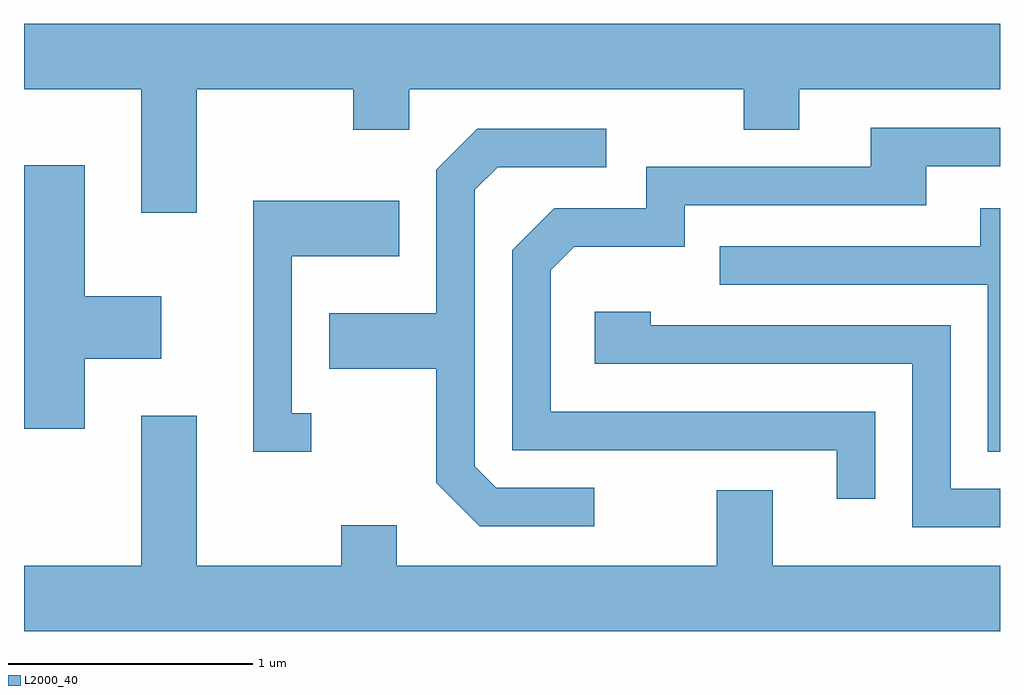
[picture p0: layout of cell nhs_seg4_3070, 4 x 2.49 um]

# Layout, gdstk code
import gdstk
lib = gdstk.Library(unit=1e-6, precision=1e-09)
def P(c, l, *ps):  # polygons
    for p in ps: c.add(gdstk.Polygon(p, *l))
L2000_40 = (2000, 40)

nhs_seg4_3070 = lib.new_cell('nhs_seg4_3070')
P(nhs_seg4_3070, L2000_40, [(276.319,1276.976),(276.961,1276.976),(276.961,1276.811),(277.189,1276.811),(277.189,1276.976),(278.561,1276.976),(278.561,1276.811),(278.789,1276.811),(278.789,1276.976),(279.611,1276.976),(279.611,1277.244),(275.611,1277.244),(275.611,1276.976),(276.091,1276.976),(276.091,1276.471),(276.319,1276.471)],
  [(279.099,1275.654),(277.769,1275.654),(277.769,1276.234),(277.867,1276.331),(278.319,1276.331),(278.319,1276.501),(279.309,1276.501),(279.309,1276.661),(279.611,1276.661),(279.611,1276.819),(279.081,1276.819),(279.081,1276.659),(278.161,1276.659),(278.161,1276.489),(277.784,1276.489),(277.611,1276.317),(277.611,1275.496),(278.941,1275.496),(278.941,1275.298),(279.099,1275.298)],
  [(277.948,1275.344),(277.547,1275.344),(277.459,1275.432),(277.459,1276.564),(277.552,1276.656),(277.998,1276.656),(277.998,1276.814),(277.469,1276.814),(277.301,1276.647),(277.301,1276.059),(276.861,1276.059),(276.861,1275.831),(277.301,1275.831),(277.301,1275.364),(277.479,1275.186),(277.948,1275.186)],
  [(275.859,1275.871),(276.174,1275.871),(276.174,1276.129),(275.859,1276.129),(275.859,1276.664),(275.611,1276.664),(275.611,1275.586),(275.859,1275.586)],
  [(276.788,1275.649),(276.709,1275.649),(276.709,1276.291),(277.149,1276.291),(277.149,1276.519),(276.551,1276.519),(276.551,1275.491),(276.788,1275.491)],
  [(279.611,1276.489),(279.531,1276.489),(279.531,1276.334),(278.463,1276.334),(278.463,1276.176),(279.561,1276.176),(279.561,1275.491),(279.611,1275.491)],
  [(279.611,1275.339),(279.409,1275.339),(279.409,1276.009),(278.179,1276.009),(278.179,1276.064),(277.951,1276.064),(277.951,1275.851),(279.251,1275.851),(279.251,1275.181),(279.611,1275.181)],
  [(279.611,1275.024),(278.679,1275.024),(278.679,1275.334),(278.451,1275.334),(278.451,1275.024),(277.139,1275.024),(277.139,1275.189),(276.911,1275.189),(276.911,1275.024),(276.319,1275.024),(276.319,1275.639),(276.091,1275.639),(276.091,1275.024),(275.611,1275.024),(275.611,1274.756),(279.611,1274.756)])

lib.write_gds('nhs_seg4_3070.gds')
